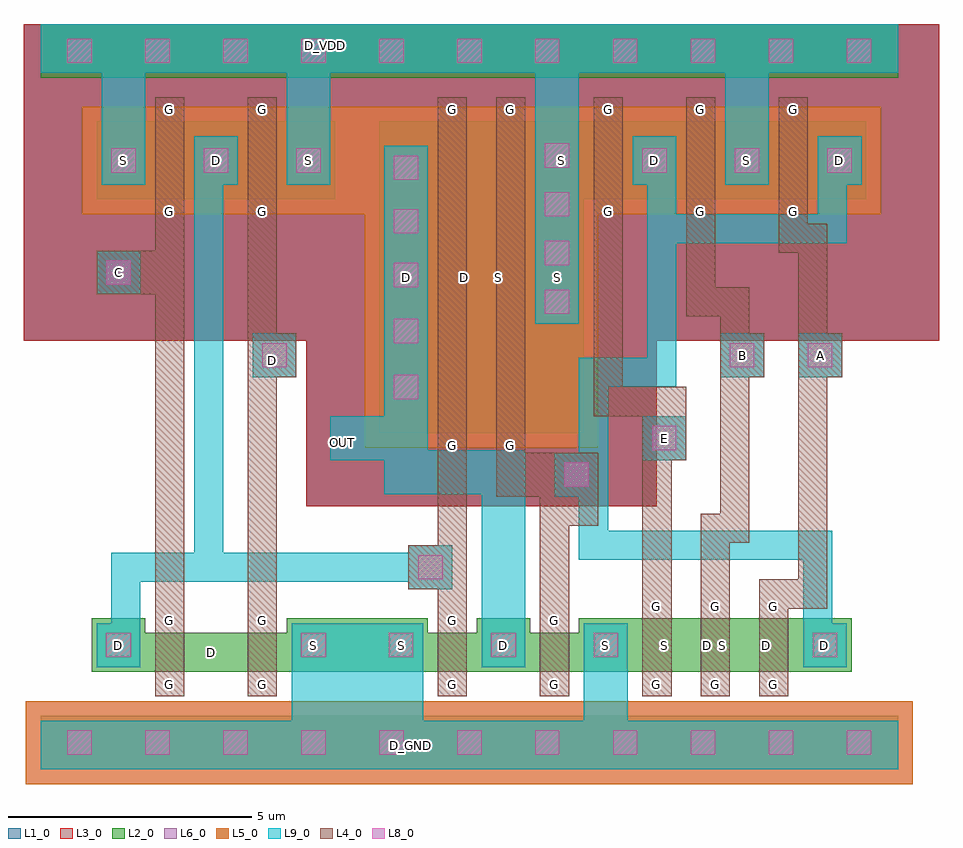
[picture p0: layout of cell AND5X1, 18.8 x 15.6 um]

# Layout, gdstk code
import gdstk
lib = gdstk.Library(unit=1e-6, precision=1e-09)
def R(c, l, rs):  # rectangles x0, y0, x1, y1
    for r in rs: c.add(gdstk.rectangle(r[:2], r[2:], *l))
def A(c, l, x, y, w, h, nx, ny, dx, dy):  # array of equal rectangles
    R(c, l, [(x+i*dx, y+j*dy, x+i*dx+w, y+j*dy+h) for i in range(nx) for j in range(ny)])
def P(c, l, *ps):  # polygons
    for p in ps: c.add(gdstk.Polygon(p, *l))
L1_0 = (1, 0)
L2_0 = (2, 0)
L3_0 = (3, 0)
L4_0 = (4, 0)
L5_0 = (5, 0)
L6_0 = (6, 0)
L8_0 = (8, 0)
L9_0 = (9, 0)

and5x1 = lib.new_cell('AND5X1')
A(and5x1, L1_0, 0, 8.8, 1.6, 6.5, 11, 1, 1.6, 0)
A(and5x1, L1_0, 8.65, 10.2, 6, 4.6, 3, 1, 1.9, 0)
R(and5x1, L1_0, [(5.45,5.4,11.45,14.8), (6.65,5.4,12.65,14.8), (-0.35,8.8,18.45,15.3), (-0.35,10.2,5.65,14.8), (1.55,10.2,7.55,14.8)])
A(and5x1, L2_0, 0, 0, 1.6, 1.1, 11, 2, 1.6, 14.2)
A(and5x1, L2_0, 12.15, 2, 1, 1.1, 3, 1, 1.2, 0)
A(and5x1, L2_0, 11.25, 11.7, 0.8, 1.6, 3, 1, 1.9, 0)
R(and5x1, L2_0, [(1.05,2,2.15,3.1), (2.15,2,3.15,2.8), (2.95,2,4.05,2.8), (3.15,2,4.25,2.8), (4.05,2,5.05,2.8), (5.05,2,6.15,3.1), (6.15,2,6.85,3.1), (6.85,2,7.95,3.1), (7.95,2,8.95,2.8), (8.95,2,10.05,3.1), (8.95,2,10.05,3.1), (10.05,2,11.05,2.8), (11.05,2,12.15,3.1), (11.05,2,12.15,3.1), (12.25,2,13.35,3.1), (13.15,2,14.25,3.1), (13.45,2,14.55,3.1), (14.35,2,15.45,3.1), (15.55,2,16.65,3.1), (6.95,6.9,8.05,13.3), (8.05,6.9,8.85,13.3), (8.15,6.9,9.25,13.3), (8.85,6.9,9.95,13.3), (9.25,6.9,10.05,13.3), (10.05,6.9,11.15,13.3), (10.05,9.05,11.15,13.15), (1.15,11.7,2.25,13.3), (2.25,11.7,3.05,13.3), (3.05,11.7,4.15,13.3), (3.05,11.7,4.15,13.3), (4.15,11.7,4.95,13.3), (4.95,11.7,6.05,13.3), (10.15,11.7,11.25,13.3), (12.05,11.7,13.15,13.3), (12.05,11.7,13.15,13.3), (13.95,11.7,15.05,13.3), (13.95,11.7,15.05,13.3), (15.85,11.7,16.95,13.3)])
A(and5x1, L3_0, 0, 8.8, 1.6, 6.5, 11, 1, 1.6, 0)
A(and5x1, L3_0, 8.65, 10.2, 6, 4.6, 3, 1, 1.9, 0)
R(and5x1, L3_0, [(5.45,5.4,11.45,14.8), (6.65,5.4,12.65,14.8), (-0.35,8.8,18.45,15.3), (-0.35,10.2,5.65,14.8), (1.55,10.2,7.55,14.8)])
A(and5x1, L4_0, 8.15, 1.5, 0.6, 0.5, 3, 1, 2.1, 0)
A(and5x1, L4_0, 12.35, 1.5, 0.6, 2.1, 3, 1, 1.2, 0)
A(and5x1, L4_0, 12.35, 3.1, 0.6, 0.5, 3, 1, 1.2, 0)
A(and5x1, L4_0, 11.35, 11.2, 0.6, 0.5, 3, 2, 1.9, 2.1)
A(and5x1, L4_0, 11.35, 11.2, 0.6, 2.6, 3, 1, 1.9, 0)
R(and5x1, L4_0, [(2.35,1.5,2.95,2), (2.35,1.5,2.95,3.3), (4.25,1.5,4.85,2), (4.25,1.5,4.85,3.3), (8.15,1.5,8.75,3.3), (10.25,1.5,10.85,3.3), (13.55,1.5,14.15,2), (14.75,1.5,15.35,2), (2.35,2.8,2.95,3.3), (4.25,2.8,4.85,3.3), (8.15,2.8,8.75,3.3), (10.25,2.8,10.85,3.3), (2.35,3.3,2.95,11.2), (4.25,3.3,4.85,11.2), (8.15,3.3,8.75,6.4), (12.35,3.6,12.95,6.35), (7.55,3.7,8.45,4.6), (9.35,5.6,10.55,6.5), (10.55,5.6,11.45,6.5), (12.35,6.35,13.25,7.25), (8.15,6.4,8.75,6.9), (8.15,6.4,8.75,13.8), (9.35,6.4,9.95,6.9), (9.35,6.4,9.95,13.8), (4.35,8.05,5.25,8.95), (13.95,8.05,14.85,8.95), (15.55,8.05,16.45,8.95), (1.15,9.75,2.05,10.65), (2.05,9.75,2.35,10.65), (2.35,11.2,2.95,11.7), (2.35,11.2,2.95,13.8), (4.25,11.2,4.85,11.7), (4.25,11.2,4.85,13.8), (2.35,13.3,2.95,13.8), (4.25,13.3,4.85,13.8), (8.15,13.3,8.75,13.8), (9.35,13.3,9.95,13.8)])
P(and5x1, L4_0, [(11.35,7.25),(13.25,7.25),(13.25,7.85),(11.95,7.85),(11.95,11.2),(11.35,11.2)],
  [(10.25,3.3),(10.85,3.3),(10.85,5),(11.45,5),(11.45,5.6),(10.25,5.6)],
  [(13.25,9.3),(13.95,9.3),(13.95,5.25),(13.55,5.25),(13.55,3.6),(14.15,3.6),(14.15,4.65),(14.55,4.65),(14.55,9.9),(13.85,9.9),(13.85,11.3),(13.25,11.3)],
  [(14.75,3.3),(16.15,3.3),(16.15,11.2),(15.15,11.2),(15.15,10.6),(15.55,10.6),(15.55,3.9),(14.75,3.9)])
A(and5x1, L5_0, 1.6, -0.3, 1.6, 1.7, 9, 1, 1.6, 0)
A(and5x1, L5_0, 9.85, 11.4, 3.6, 2.2, 3, 1, 1.9, 0)
R(and5x1, L5_0, [(-0.3,-0.3,1.6,1.4), (16,-0.3,17.9,1.4), (6.65,6.6,10.25,13.6), (7.85,6.6,11.45,13.6), (0.85,11.4,4.45,13.6), (2.75,11.4,6.35,13.6), (6.35,11.4,6.85,13.6)])
A(and5x1, L6_0, 1.6, -0.3, 1.6, 1.7, 9, 1, 1.6, 0)
A(and5x1, L6_0, 9.85, 11.4, 3.6, 2.2, 3, 1, 1.9, 0)
R(and5x1, L6_0, [(-0.3,-0.3,1.6,1.4), (16,-0.3,17.9,1.4), (6.65,6.6,10.25,13.6), (7.85,6.6,11.45,13.6), (0.85,11.4,4.45,13.6), (2.75,11.4,6.35,13.6), (6.35,11.4,6.85,13.6)])
A(and5x1, L8_0, 0.55, 0.3, 0.5, 0.5, 11, 2, 1.6, 14.2)
A(and5x1, L8_0, 7.25, 7.6, 0.5, 0.5, 1, 3, 0, 1.15)
A(and5x1, L8_0, 10.35, 9.35, 0.5, 0.5, 1, 4, 0, 1)
R(and5x1, L8_0, [(1.35,2.3,1.85,2.8), (5.35,2.3,5.85,2.8), (7.15,2.3,7.65,2.8), (9.25,2.3,9.75,2.8), (9.25,2.3,9.75,2.8), (11.35,2.3,11.85,2.8), (11.35,2.3,11.85,2.8), (15.85,2.3,16.35,2.8), (7.75,3.9,8.25,4.4), (10.75,5.8,11.25,6.3), (12.55,6.55,13.05,7.05), (4.55,8.25,5.05,8.75), (14.15,8.25,14.65,8.75), (15.75,8.25,16.25,8.75), (1.35,9.95,1.85,10.45), (7.25,11,7.75,11.5), (7.25,12.1,7.75,12.6), (1.45,12.25,1.95,12.75), (3.35,12.25,3.85,12.75), (3.35,12.25,3.85,12.75), (5.25,12.25,5.75,12.75), (12.35,12.25,12.85,12.75), (12.35,12.25,12.85,12.75), (14.25,12.25,14.75,12.75), (14.25,12.25,14.75,12.75), (16.15,12.25,16.65,12.75)])
A(and5x1, L9_0, 0, 0, 1.6, 1, 11, 2, 1.6, 14.3)
R(and5x1, L9_0, [(7.3,0.2,7.9,0.8), (5.15,0.8,7.85,3), (1.15,2.1,2.05,3), (5.15,2.1,6.05,3), (6.95,2.1,7.85,3), (9.05,2.1,9.95,3), (9.05,2.1,9.95,3), (11.15,2.1,12.05,3), (11.15,2.1,12.05,3), (15.65,2.1,16.55,3), (7.55,3.7,8.45,4.6), (3.15,3.85,8.15,4.45), (3.15,3.85,3.75,12.6), (10.55,5.6,11.45,6.5), (5.95,6.35,6.85,7.25), (12.35,6.35,13.25,7.25), (12.5,6.5,13.1,7.1), (7.05,7.4,7.95,12.8), (4.35,8.05,5.25,8.95), (4.35,8.05,5.25,8.95), (13.95,8.05,14.85,8.95), (15.55,8.05,16.45,8.95), (14.1,8.2,14.7,8.8), (15.7,8.2,16.3,8.8), (10.15,9.15,11.05,13.05), (1.15,9.75,2.05,10.65), (1.15,9.75,2.05,10.65), (12.45,10.8,13.05,12.6), (10.15,11.9,11.05,15.2), (1.25,12,2.15,13), (3.15,12,4.05,13), (3.15,12,4.05,13), (5.05,12,5.95,13), (12.15,12,13.05,13), (12.15,12,13.05,13), (14.05,12,14.95,13), (14.05,12,14.95,13), (15.95,12,16.85,13), (5.05,12.1,5.95,15.2), (5.55,14.55,6.15,15.15)])
P(and5x1, L9_0, [(13.5,14.3),(14.05,14.3),(14.05,12.1),(14.95,12.1),(14.95,15.2),(13.5,15.2)],
  [(0.7,14.3),(1.25,14.3),(1.25,12.1),(2.15,12.1),(2.15,15.2),(0.7,15.2)],
  [(1.45,2.4),(2.05,2.4),(2.05,3.85),(3.75,3.85),(3.75,4.45),(1.45,4.45)],
  [(6.8,6.35),(7.95,6.35),(7.95,7.4),(7.05,7.4),(7.05,7.25),(6.8,7.25)],
  [(7.05,5.65),(9.05,5.65),(9.05,3),(9.95,3),(9.95,6.55),(7.05,6.55)],
  [(10.3,0.1),(12.05,0.1),(12.05,3),(11.15,3),(11.15,1),(10.3,1)],
  [(12.45,10.8),(16.55,10.8),(16.55,12.6),(15.95,12.6),(15.95,11.4),(12.45,11.4)],
  [(10.85,5.9),(11.65,5.9),(11.65,7.85),(13.05,7.85),(13.05,11.4),(12.45,11.4),(12.45,8.45),(11.05,8.45),(11.05,6.5),(10.85,6.5)],
  [(11.05,4.3),(15.65,4.3),(15.65,2.4),(16.25,2.4),(16.25,4.9),(11.65,4.9),(11.65,5.9),(11.05,5.9)])
and5x1.add(gdstk.Label('G', (15.05,1.752), layer=4, texttype=0))
and5x1.add(gdstk.Label('G', (15.05,3.352), layer=4, texttype=0))
and5x1.add(gdstk.Label('S', (13.999,2.551), layer=2, texttype=0))
and5x1.add(gdstk.Label('D', (16.099,2.551), layer=9, texttype=0))
and5x1.add(gdstk.Label('D', (14.899,2.551), layer=2, texttype=0))
and5x1.add(gdstk.Label('G', (13.85,1.752), layer=4, texttype=0))
and5x1.add(gdstk.Label('G', (13.85,3.352), layer=4, texttype=0))
and5x1.add(gdstk.Label('S', (12.799,2.551), layer=2, texttype=0))
and5x1.add(gdstk.Label('D', (13.699,2.551), layer=2, texttype=0))
and5x1.add(gdstk.Label('G', (12.65,1.752), layer=4, texttype=0))
and5x1.add(gdstk.Label('G', (12.65,3.352), layer=4, texttype=0))
and5x1.add(gdstk.Label('S', (11.599,2.551), layer=9, texttype=0))
and5x1.add(gdstk.Label('G', (11.65,11.452), layer=4, texttype=0))
and5x1.add(gdstk.Label('G', (11.65,13.552), layer=4, texttype=0))
and5x1.add(gdstk.Label('S', (10.699,12.501), layer=2, texttype=0))
and5x1.add(gdstk.Label('D', (12.599,12.501), layer=9, texttype=0))
and5x1.add(gdstk.Label('G', (15.45,11.452), layer=4, texttype=0))
and5x1.add(gdstk.Label('G', (15.45,13.552), layer=4, texttype=0))
and5x1.add(gdstk.Label('S', (14.499,12.501), layer=9, texttype=0))
and5x1.add(gdstk.Label('D', (16.399,12.501), layer=9, texttype=0))
and5x1.add(gdstk.Label('G', (13.55,11.452), layer=4, texttype=0))
and5x1.add(gdstk.Label('G', (13.55,13.552), layer=4, texttype=0))
and5x1.add(gdstk.Label('S', (14.501,12.501), layer=9, texttype=0))
and5x1.add(gdstk.Label('D', (12.601,12.501), layer=9, texttype=0))
and5x1.add(gdstk.Label('G', (10.55,1.752), layer=4, texttype=0))
and5x1.add(gdstk.Label('G', (10.55,3.052), layer=4, texttype=0))
and5x1.add(gdstk.Label('S', (11.601,2.551), layer=9, texttype=0))
and5x1.add(gdstk.Label('D', (9.501,2.551), layer=9, texttype=0))
and5x1.add(gdstk.Label('G', (8.45,1.752), layer=4, texttype=0))
and5x1.add(gdstk.Label('G', (8.45,3.052), layer=4, texttype=0))
and5x1.add(gdstk.Label('S', (7.399,2.551), layer=9, texttype=0))
and5x1.add(gdstk.Label('D', (9.499,2.551), layer=9, texttype=0))
and5x1.add(gdstk.Label('D', (3.501,2.401), layer=2, texttype=0))
and5x1.add(gdstk.Label('G', (4.55,1.752), layer=4, texttype=0))
and5x1.add(gdstk.Label('G', (4.55,3.052), layer=4, texttype=0))
and5x1.add(gdstk.Label('S', (5.601,2.551), layer=9, texttype=0))
and5x1.add(gdstk.Label('G', (2.65,1.752), layer=4, texttype=0))
and5x1.add(gdstk.Label('G', (2.65,3.052), layer=4, texttype=0))
and5x1.add(gdstk.Label('S', (3.701,2.401), layer=2, texttype=0))
and5x1.add(gdstk.Label('D', (1.601,2.551), layer=9, texttype=0))
and5x1.add(gdstk.Label('G', (8.45,6.652), layer=4, texttype=0))
and5x1.add(gdstk.Label('G', (8.45,13.552), layer=4, texttype=0))
and5x1.add(gdstk.Label('S', (9.401,10.101), layer=2, texttype=0))
and5x1.add(gdstk.Label('D', (7.501,10.101), layer=9, texttype=0))
and5x1.add(gdstk.Label('G', (4.55,13.548), layer=4, texttype=0))
and5x1.add(gdstk.Label('G', (4.55,11.448), layer=4, texttype=0))
and5x1.add(gdstk.Label('S', (5.501,12.499), layer=9, texttype=0))
and5x1.add(gdstk.Label('D', (3.601,12.499), layer=9, texttype=0))
and5x1.add(gdstk.Label('G', (2.65,11.452), layer=4, texttype=0))
and5x1.add(gdstk.Label('G', (2.65,13.552), layer=4, texttype=0))
and5x1.add(gdstk.Label('S', (1.699,12.501), layer=9, texttype=0))
and5x1.add(gdstk.Label('D', (3.599,12.501), layer=9, texttype=0))
and5x1.add(gdstk.Label('G', (9.65,6.652), layer=4, texttype=0))
and5x1.add(gdstk.Label('G', (9.65,13.552), layer=4, texttype=0))
and5x1.add(gdstk.Label('S', (10.601,10.101), layer=2, texttype=0))
and5x1.add(gdstk.Label('D', (8.701,10.101), layer=2, texttype=0))
and5x1.add(gdstk.Label('D_GND', (7.6,0.5), layer=50, texttype=0))
and5x1.add(gdstk.Label('D_VDD', (5.85,14.85), layer=50, texttype=0))
and5x1.add(gdstk.Label('A', (16,8.5), layer=50, texttype=0))
and5x1.add(gdstk.Label('B', (14.4,8.5), layer=50, texttype=0))
and5x1.add(gdstk.Label('C', (1.6,10.2), layer=50, texttype=0))
and5x1.add(gdstk.Label('OUT', (6.2,6.7), layer=50, texttype=0))
and5x1.add(gdstk.Label('D', (4.75,8.4), layer=50, texttype=0))
and5x1.add(gdstk.Label('E', (12.8,6.8), layer=50, texttype=0))

lib.write_gds('AND5X1.gds')
